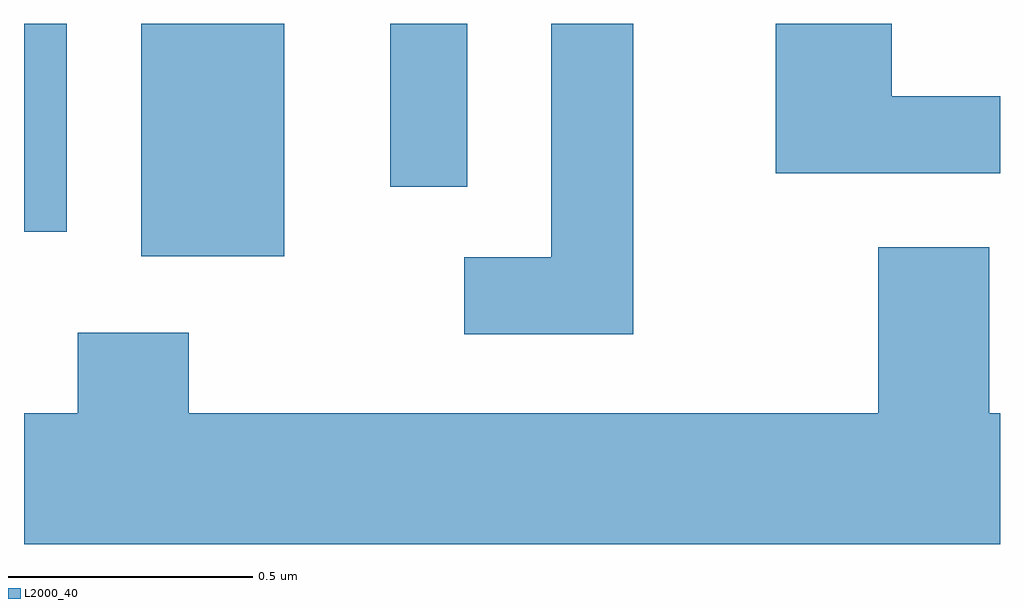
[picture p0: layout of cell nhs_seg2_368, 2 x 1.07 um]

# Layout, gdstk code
import gdstk
lib = gdstk.Library(unit=1e-6, precision=1e-09)
def R(c, l, rs):  # rectangles x0, y0, x1, y1
    for r in rs: c.add(gdstk.rectangle(r[:2], r[2:], *l))
def P(c, l, *ps):  # polygons
    for p in ps: c.add(gdstk.Polygon(p, *l))
L2000_40 = (2000, 40)

nhs_seg2_368 = lib.new_cell('nhs_seg2_368')
R(nhs_seg2_368, L2000_40, [(187.851,1073.326,188.144,1073.802), (187.611,1073.376,187.699,1073.802), (188.361,1073.468,188.519,1073.802)])
P(nhs_seg2_368, L2000_40, [(189.611,1073.654),(189.389,1073.654),(189.389,1073.802),(189.151,1073.802),(189.151,1073.496),(189.611,1073.496)],
  [(188.859,1073.802),(188.691,1073.802),(188.691,1073.324),(188.513,1073.324),(188.513,1073.166),(188.859,1073.166)],
  [(189.611,1073.004),(189.589,1073.004),(189.589,1073.344),(189.361,1073.344),(189.361,1073.004),(187.949,1073.004),(187.949,1073.169),(187.721,1073.169),(187.721,1073.004),(187.611,1073.004),(187.611,1072.736),(189.611,1072.736)])

lib.write_gds('nhs_seg2_368.gds')
